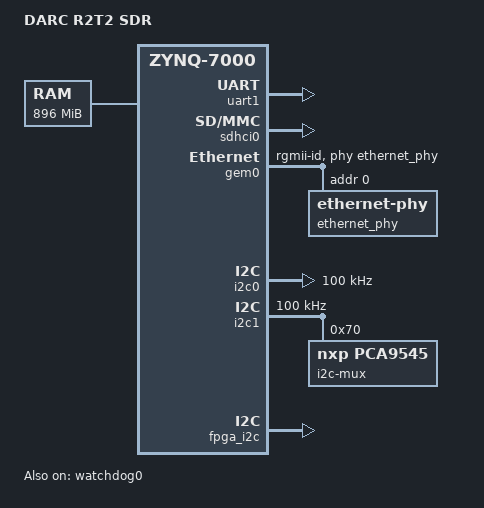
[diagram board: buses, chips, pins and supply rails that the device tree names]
// SPDX-License-Identifier: GPL-2.0
/*
 * R2T2 SDR (Zynq Z7020), device tree for the new base image, kernel 6.12.
 * Rebuilt from the tree inside image.ub of device 1 (Buehl, 2026-11-17);
 * ZedBoard leftovers (HDMI, VDMA, audio, framebuffer, clkgen) removed.
 *
 * FPGA registers without a kernel driver are reached from userspace through
 * /dev/mem and are deliberately not described here:
 *   0x50000000            TX cfg register     0x50010000..0x50090000  RX cfg registers
 *   0x51000000            status register     0xf8000240              FPGA reset (SLCR)
 */
/dts-v1/;
#include "zynq-7000.dtsi"

/ {
	model = "DARC R2T2 SDR";
	compatible = "darc,r2t2", "xlnx,zynq-7000";

	aliases {
		ethernet0 = &gem0;
		serial0 = &uart1;
		mmc0 = &sdhci0;
		/* keep the bus numbers of the old system: Si5344 sits on /dev/i2c-3 */
		i2c0 = &i2c0;
		i2c1 = &i2c1;
		i2c2 = &fpga_i2c;
		i2c3 = &mux_i2c0;
		i2c4 = &mux_i2c1;
		i2c5 = &mux_i2c2;
		i2c6 = &mux_i2c3;
	};

	/* as in the old tree: 896 MB */
	memory@0 {
		device_type = "memory";
		reg = <0x0 0x38000000>;
	};

	chosen {
		bootargs = "console=ttyPS0,115200 root=/dev/mmcblk0p2 rw rootfstype=ext4 rootwait";
		stdout-path = "serial0:115200n8";
	};
};

&clkc {
	ps-clk-frequency = <33333333>;
	/* the four clocks into the FPGA must stay on */
	fclk-enable = <0xf>;
};

&uart1 {
	status = "okay";
};

&sdhci0 {
	status = "okay";
};

&gem0 {
	status = "okay";
	phy-mode = "rgmii-id";
	phy-handle = <&ethernet_phy>;

	ethernet_phy: ethernet-phy@0 {
		reg = <0>;
		device_type = "ethernet-phy";
		marvell,reg-init = <0x3 0x10 0xff00 0x1e 0x3 0x11 0xfff0 0xa>;
	};
};

&i2c0 {
	status = "okay";
	clock-frequency = <100000>;
};

&i2c1 {
	status = "okay";
	clock-frequency = <100000>;

	i2c-mux@70 {
		compatible = "nxp,pca9545";
		#address-cells = <1>;
		#size-cells = <0>;
		reg = <0x70>;

		mux_i2c0: i2c@0 {	/* Si5344 clock chip, 0x6b */
			#address-cells = <1>;
			#size-cells = <0>;
			reg = <0>;
		};
		mux_i2c1: i2c@1 {
			#address-cells = <1>;
			#size-cells = <0>;
			reg = <1>;
		};
		mux_i2c2: i2c@2 {
			#address-cells = <1>;
			#size-cells = <0>;
			reg = <2>;
		};
		mux_i2c3: i2c@3 {
			#address-cells = <1>;
			#size-cells = <0>;
			reg = <3>;
		};
	};
};

/* PS watchdog: the old tree used a compatible the driver never matched */
&watchdog0 {
	status = "okay";
	reset-on-timeout;
	timeout-sec = <10>;
};

&amba {
	/* sample stream FPGA <-> rad0, driver drivers/net/r2t2 */
	r2t2_dma: dma@40400000 {
		compatible = "darc,r2t2-dma";
		reg = <0x40400000 0x10000>;
		xlnx,include-sg;

		dma-channel-mm2s {
			compatible = "xlnx,axi-dma-mm2s-channel";
			interrupts = <0 30 4>;
			xlnx,datawidth = <0x20>;
			xlnx,device-id = <0x0>;
		};
		dma-channel-s2mm {
			compatible = "xlnx,axi-dma-s2mm-channel";
			interrupts = <0 31 4>;
			xlnx,datawidth = <0x20>;
			xlnx,device-id = <0x0>;
		};
	};

	/* DAC SPI, attenuators, PGA (bit-banged); same defaults as the old tree */
	fpga_gpio: gpio@41200000 {
		compatible = "xlnx,xps-gpio-1.00.a";
		reg = <0x41200000 0x10000>;
		#gpio-cells = <2>;
		gpio-controller;
		clocks = <&clkc 15>;
		xlnx,all-inputs = <0x0>;
		xlnx,all-outputs = <0x0>;
		xlnx,dout-default = <0x0>;
		xlnx,gpio-width = <0x20>;
		xlnx,interrupt-present = <0x0>;
		xlnx,is-dual = <0x0>;
		xlnx,tri-default = <0xffffffff>;
	};

	/* I2C core in the FPGA; clock assumed to be FCLK0, to be checked on the device */
	fpga_i2c: i2c@41600000 {
		compatible = "xlnx,xps-iic-2.00.a";
		reg = <0x41600000 0x10000>;
		interrupts = <0 29 4>;
		clocks = <&clkc 15>;
		#address-cells = <1>;
		#size-cells = <0>;
	};
};
